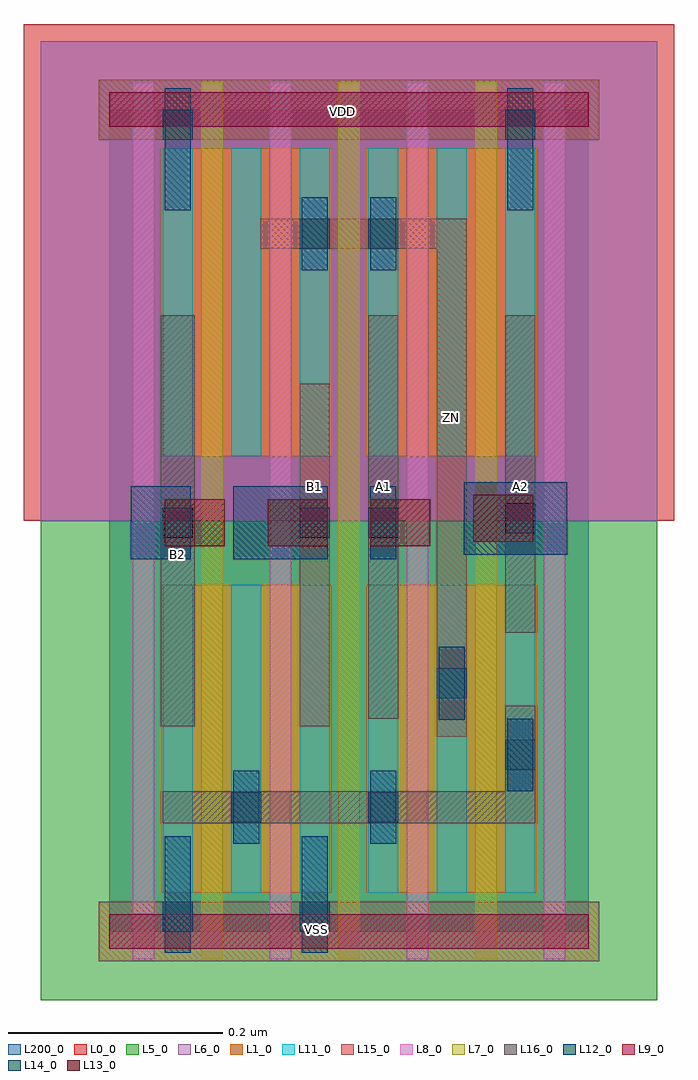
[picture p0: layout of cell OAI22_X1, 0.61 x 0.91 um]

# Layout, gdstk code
import gdstk
lib = gdstk.Library(unit=1e-6, precision=1e-09)
def R(c, l, rs):  # rectangles x0, y0, x1, y1
    for r in rs: c.add(gdstk.rectangle(r[:2], r[2:], *l))
def A(c, l, x, y, w, h, nx, ny, dx, dy):  # array of equal rectangles
    R(c, l, [(x+i*dx, y+j*dy, x+i*dx+w, y+j*dy+h) for i in range(nx) for j in range(ny)])
def P(c, l, *ps):  # polygons
    for p in ps: c.add(gdstk.Polygon(p, *l))
L0_0 = (0, 0)
L1_0 = (1, 0)
L5_0 = (5, 0)
L6_0 = (6, 0)
L7_0 = (7, 0)
L8_0 = (8, 0)
L9_0 = (9, 0)
L11_0 = (11, 0)
L12_0 = (12, 0)
L13_0 = (13, 0)
L14_0 = (14, 0)
L15_0 = (15, 0)
L16_0 = (16, 0)
L200_0 = (200, 0)

oai22_x1 = lib.new_cell('OAI22_X1')
R(oai22_x1, L0_0, [(-0.08,0.384,0.528,0.848)])
R(oai22_x1, L1_0, [(0.048,0.036,0.208,0.324), (0.24,0.036,0.4,0.324), (0.048,0.444,0.208,0.732), (0.24,0.444,0.4,0.732)])
R(oai22_x1, L5_0, [(-0.064,-0.064,0.512,0.384)])
R(oai22_x1, L6_0, [(-0.064,0.384,0.512,0.832)])
A(oai22_x1, L7_0, 0.086, -0.026, 0.02, 0.82, 3, 1, 0.128, 0)
A(oai22_x1, L8_0, 0.022, -0.026, 0.02, 0.82, 4, 1, 0.128, 0)
R(oai22_x1, L9_0, [(0,-0.016,0.448,0.016), (0,0.752,0.448,0.784)])
A(oai22_x1, L11_0, 0.05, 0.036, 0.028, 0.288, 6, 2, 0.064, 0.408)
R(oai22_x1, L12_0, [(0.052,-0.02,0.076,0.089), (0.18,-0.02,0.204,0.089), (0.116,0.082,0.14,0.15), (0.244,0.082,0.268,0.15), (0.372,0.131,0.396,0.199), (0.308,0.198,0.332,0.266), (0.02,0.348,0.076,0.416), (0.116,0.348,0.204,0.416), (0.244,0.348,0.268,0.416), (0.331,0.352,0.428,0.42), (0.18,0.618,0.204,0.686), (0.244,0.618,0.268,0.686), (0.052,0.674,0.076,0.788), (0.372,0.674,0.396,0.788)])
A(oai22_x1, L13_0, 0.052, 0.36, 0.056, 0.044, 3, 1, 0.096, 0)
R(oai22_x1, L13_0, [(0.34,0.364,0.396,0.408)])
R(oai22_x1, L14_0, [(0.05,0,0.078,0.028), (0.178,0,0.206,0.028), (0.114,0.102,0.142,0.13), (0.242,0.102,0.27,0.13), (0.37,0.151,0.398,0.179), (0.306,0.218,0.334,0.246), (0.05,0.368,0.078,0.396), (0.178,0.368,0.206,0.396), (0.242,0.368,0.27,0.396), (0.37,0.372,0.398,0.4), (0.178,0.638,0.206,0.666), (0.242,0.638,0.27,0.666), (0.05,0.74,0.078,0.768), (0.37,0.74,0.398,0.768)])
R(oai22_x1, L15_0, [(-0.01,-0.028,0.458,0.028), (0.178,0.192,0.206,0.512), (-0.01,0.74,0.458,0.796)])
P(oai22_x1, L15_0, [(0.141,0.638),(0.306,0.638),(0.306,0.182),(0.334,0.182),(0.334,0.666),(0.141,0.666)])
R(oai22_x1, L16_0, [(0.048,0.192,0.08,0.576), (0.242,0.199,0.27,0.576), (0.37,0.279,0.398,0.576)])
P(oai22_x1, L16_0, [(0.05,0.101),(0.398,0.101),(0.398,0.211),(0.37,0.211),(0.37,0.131),(0.05,0.131)])
R(oai22_x1, L200_0, [(0,0,0.448,0.768)])
oai22_x1.add(gdstk.Label('ZN', (0.32,0.48), layer=15, texttype=20))
oai22_x1.add(gdstk.Label('VDD', (0.218,0.766), layer=15, texttype=20))
oai22_x1.add(gdstk.Label('VSS', (0.194,0.002), layer=15, texttype=20))
oai22_x1.add(gdstk.Label('B1', (0.192,0.416), layer=15, texttype=20))
oai22_x1.add(gdstk.Label('A1', (0.256,0.416), layer=16, texttype=20))
oai22_x1.add(gdstk.Label('B2', (0.064,0.352), layer=16, texttype=20))
oai22_x1.add(gdstk.Label('A2', (0.384,0.416), layer=16, texttype=20))

lib.write_gds('OAI22_X1.gds')
